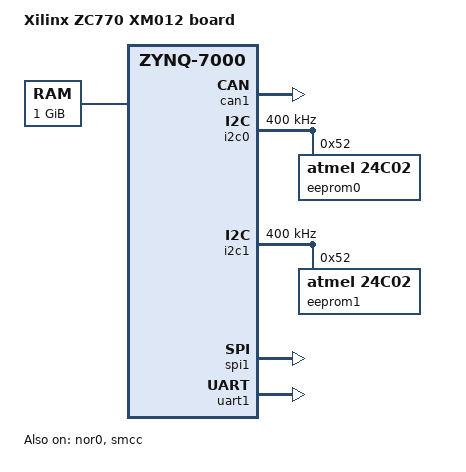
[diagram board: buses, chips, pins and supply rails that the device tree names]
// SPDX-License-Identifier: GPL-2.0+
/*
 * Xilinx ZC770 XM012 board DTS
 *
 * Copyright (C) 2013-2018 Xilinx, Inc.
 */
/dts-v1/;
#include "zynq-7000.dtsi"

/ {
	model = "Xilinx ZC770 XM012 board";
	compatible = "xlnx,zynq-zc770-xm012", "xlnx,zynq-7000";

	aliases {
		i2c0 = &i2c0;
		i2c1 = &i2c1;
		serial0 = &uart1;
		spi0 = &spi1;
	};

	chosen {
		bootargs = "";
		stdout-path = "serial0:115200n8";
	};

	memory@0 {
		device_type = "memory";
		reg = <0x0 0x40000000>;
	};
};

&can1 {
	status = "okay";
};

&i2c0 {
	status = "okay";
	clock-frequency = <400000>;

	eeprom0: eeprom@52 {
		compatible = "atmel,24c02";
		reg = <0x52>;
	};
};

&i2c1 {
	status = "okay";
	clock-frequency = <400000>;

	eeprom1: eeprom@52 {
		compatible = "atmel,24c02";
		reg = <0x52>;
	};
};

&nor0 {
	status = "okay";
	bank-width = <1>;
	partitions {
		compatible = "fixed-partitions";
		#address-cells = <1>;
		#size-cells = <1>;
		partition@0 {
			label = "nor-fsbl-uboot";
			reg = <0x0 0x100000>;
		};
		partition@100000 {
			label = "nor-linux";
			reg = <0x100000 0x500000>;
		};
		partition@600000 {
			label = "nor-device-tree";
			reg = <0x600000 0x20000>;
		};
		partition@620000 {
			label = "nor-rootfs";
			reg = <0x620000 0x5e0000>;
		};
		partition@c00000 {
			label = "nor-bitstream";
			reg = <0xc00000 0x400000>;
		};
	};
};

&smcc {
	status = "okay";
};

&spi1 {
	status = "okay";
	num-cs = <4>;
	is-decoded-cs = <0>;
};

&uart1 {
	bootph-all;
	status = "okay";
};
